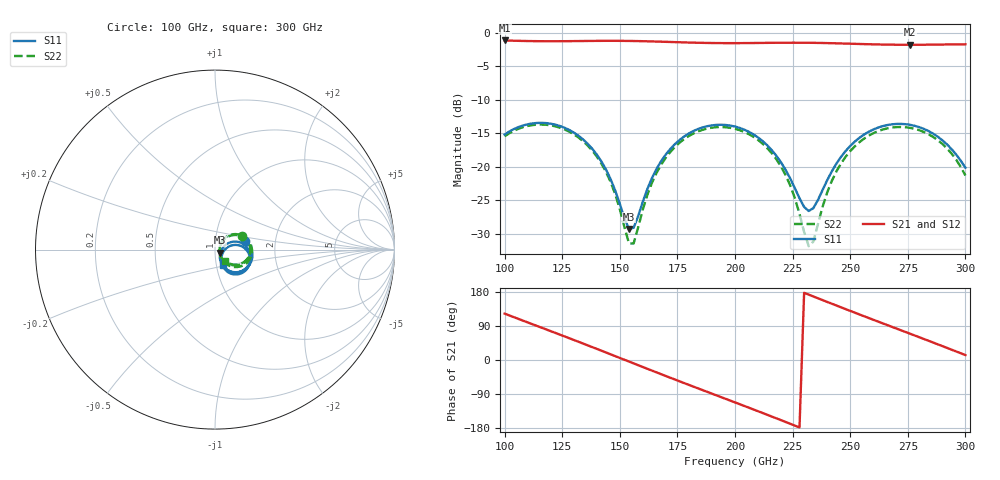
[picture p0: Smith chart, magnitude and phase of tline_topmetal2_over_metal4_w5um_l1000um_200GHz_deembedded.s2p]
! Created with skrf 2.0.1 (http://scikit-rf.org).
# GHz S DB R 50.0
!freq dBS11 angS11 dBS21 angS21 dBS12 angS12 dBS22 angS22
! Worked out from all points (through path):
!   101 points, 100 GHz to 300 GHz, reference 50 ohm
!   highest |S21| = -1.13 dB at 100 GHz (marker M1); lowest = -1.8 dB at 276 GHz (marker M2)
!   group delay of S21, straight-line fit = 6.53 ps
!   lowest |S11| = -29.3 dB at 154 GHz (marker M3), VSWR 1.07, Z = 53 - j1.8 ohm
!   |S11| at or under -10 dB: start of sweep to end of sweep
!   |S22| runs from -31.9 to -13.7 dB; largest |S21 - S12| = 9.7e-14
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100  -15.18 15.6  -1.13 122.4  -1.13 122.4  -15.44 26.5
116  -13.44 -16.3  -1.25 85.4  -1.25 85.4  -13.69 -4.4
124  -13.91 -32.3  -1.25 66.9  -1.25 66.9  -14.16 -20.0
134  -15.90 -51.3  -1.22 43.6  -1.22 43.6  -16.16 -38.8
146  -21.84 -65.3  -1.19 15.0  -1.19 15.0  -22.25 -54.6
154  -29.29 -29.6  -1.21 -4.1  -1.21 -4.1  -31.45 -19.3
156  -29.11 -5.7  -1.22 -8.9  -1.22 -8.9  -31.45 12.2
162  -23.28 25.0  -1.26 -23.3  -1.26 -23.3  -24.15 47.1
168  -19.12 23.6  -1.32 -37.6  -1.32 -37.6  -19.65 44.2
184  -14.35 -2.6  -1.48 -75.0  -1.48 -75.0  -14.71 17.1
200  -13.99 -32.8  -1.53 -111.9  -1.53 -111.9  -14.33 -13.9
218  -18.38 -60.9  -1.48 -154.1  -1.48 -154.1  -18.90 -46.1
224  -21.77 -61.6  -1.47 -168.4  -1.47 -168.4  -22.81 -51.5
232  -26.60 -25.8  -1.48 172.5  -1.48 172.5  -31.85 -9.6
234  -26.17 -10.4  -1.49 167.7  -1.49 167.7  -31.17 21.1
240  -22.02 12.6  -1.53 153.3  -1.53 153.3  -23.86 50.3
246  -18.53 12.8  -1.58 139.1  -1.58 139.1  -19.52 46.7
258  -14.78 -3.5  -1.70 110.9  -1.70 110.9  -15.36 26.7
268  -13.66 -20.9  -1.76 87.8  -1.76 87.8  -14.14 7.6
276  -13.73 -35.1  -1.78 69.3  -1.78 69.3  -14.19 -8.0
290  -16.04 -57.3  -1.74 36.7  -1.74 36.7  -16.59 -34.3
300  -20.13 -63.6  -1.71 13.0  -1.71 13.0  -21.30 -47.8
